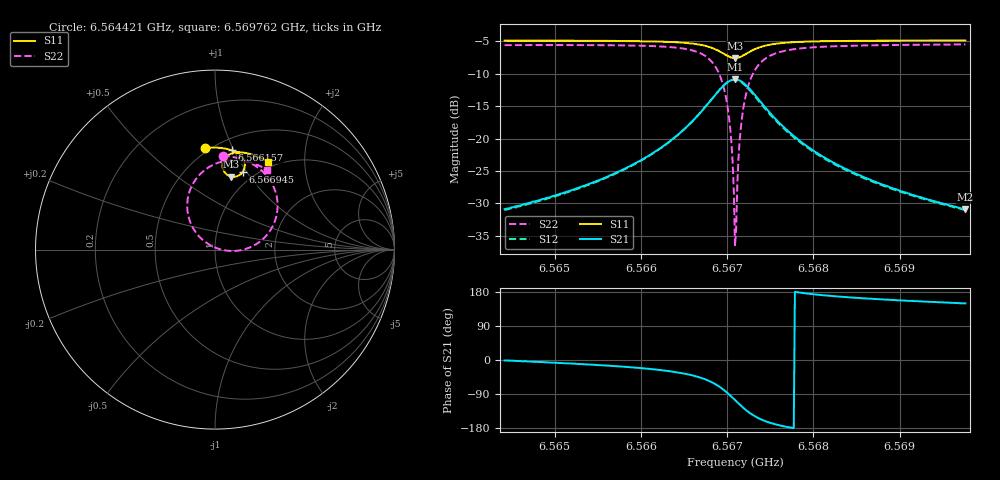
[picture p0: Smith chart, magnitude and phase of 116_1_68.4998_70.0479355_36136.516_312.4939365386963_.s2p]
#  HZ  S  RI  R  50.00
! Rohde & Schwarz Vector Network Analyzer
! Rohde-Schwarz,ZNB20-2Port,1311601062101988,3.16
! Created: UTC 3/20/2024, 5:08:54 PM
! freq[Hz]  re:S11  im:S11  re:S21  im:S21  re:S12  im:S12  re:S22  im:S22
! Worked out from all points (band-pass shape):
!   401 points, 6.564421 GHz to 6.569762 GHz, reference 50 ohm
!   highest |S21| = -10.87 dB at 6.567092 GHz (marker M1); lowest = -31.0 dB at 6.569762 GHz (marker M2)
!   |S21| within 3 dB of the highest: 6.566827 GHz to 6.567359 GHz (532.5 kHz wide, 0.00811 % of centre)
!   lowest |S11| = -7.6 dB at 6.567092 GHz (marker M3), VSWR 2.43, Z = 41.6 + j41 ohm
!   |S11| at or under -10 dB: nowhere
!   |S22| runs from -36.6 to -5.5 dB; largest |S21 - S12| = 0.014
!   S11 on the Smith chart (normalised r, x): 6.564421 GHz: 0.47, +0.79; 6.566157 GHz: 0.61, +0.98; 6.566945 GHz: 0.88, +0.96; 6.569762 GHz: 0.91, +1.32
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6.564421e9  -0.058 0.5661  0.0285 -0.00062  0.0281 -0.00107  0.042 0.5238
6.5653157e9  0.0156 0.5676  0.0419 -0.00798  0.0411 -0.00868  0.1273 0.5098
6.566157e9  0.0946 0.5529  0.0713 -0.0329  0.0702 -0.0337  0.2388 0.4575
6.5662104e9  0.1004 0.5507  0.0745 -0.0364  0.0733 -0.0373  0.2482 0.4504
6.5667178e9  0.1597 0.4992  0.1098 -0.1245  0.1072 -0.127  0.3467 0.279
6.5668514e9  0.1657 0.4632  0.0994 -0.1875  0.0946 -0.1909  0.3338 0.1589
6.5669448e9  0.1534 0.431  0.0609 -0.2426  0.0526 -0.2456  0.2642 0.0559
6.5669849e9  0.141 0.4183  0.0315 -0.2632  0.0212 -0.2649  0.2096 0.0191
6.567025e9  0.1241 0.4091  -0.00617 -0.277  -0.0176 -0.2764  0.141 -0.00394
6.5670517e9  0.111 0.406  -0.0342 -0.2804  -0.0466 -0.2779  0.0902 -0.00769
6.5670784e9  0.0972 0.4059  -0.0632 -0.2783  -0.0756 -0.2736  0.0384 -0.000894
6.5670917e9  0.0902 0.4069  -0.0778 -0.2753  -0.0897 -0.2692  0.0132 0.00653
6.5671051e9  0.0836 0.4088  -0.0918 -0.2705  -0.1033 -0.2635  -0.0109 0.0165
6.5671184e9  0.077 0.4114  -0.1052 -0.2644  -0.1161 -0.2564  -0.0338 0.0288
6.5671451e9  0.0653 0.4187  -0.1296 -0.2489  -0.1391 -0.2392  -0.0743 0.0593
6.5671852e9  0.052 0.4332  -0.158 -0.219  -0.1648 -0.2079  -0.1196 0.1153
6.5672386e9  0.0426 0.4554  -0.1797 -0.175  -0.1827 -0.1636  -0.1501 0.1952
6.5673054e9  0.0428 0.4813  -0.1858 -0.1247  -0.1855 -0.1145  -0.1517 0.2836
6.5675458e9  0.0804 0.5302  -0.1424 -0.0279  -0.1393 -0.0235  -0.0537 0.446
6.5679864e9  0.1435 0.5423  -0.0812 0.00874  -0.0794 0.0101  0.084 0.4978
6.5688811e9  0.2274 0.5218  -0.0393 0.0153  -0.0384 0.0155  0.2144 0.4802
6.5697624e9  0.2928 0.4899  -0.0244 0.0145  -0.0239 0.0147  0.2923 0.4445
